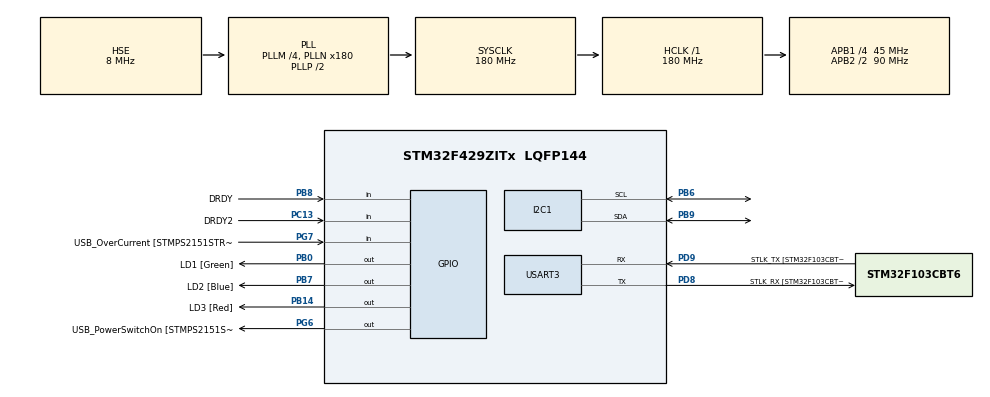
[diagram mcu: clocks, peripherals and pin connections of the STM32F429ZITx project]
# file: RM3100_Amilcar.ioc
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Mcu.Family=STM32F4
Mcu.Name=STM32F429ZITx
Mcu.Package=LQFP144
NVIC.PriorityGroup=NVIC_PRIORITYGROUP_4
PA1.GPIO_Label=RMII_REF_CLK [LAN8742A-CZ-TR_REFCLK0]
PA1.Signal=ETH_REF_CLK
PA10.GPIO_Label=USB_ID
PA10.Signal=USB_OTG_FS_ID
PA11.GPIO_Label=USB_DM
PA11.Signal=USB_OTG_FS_DM
PA12.GPIO_Label=USB_DP
PA12.Signal=USB_OTG_FS_DP
PA13.GPIO_Label=TMS
PA13.Mode=Serial_Wire
PA13.Signal=SYS_JTMS-SWDIO
PA14.GPIO_Label=TCK
PA14.Mode=Serial_Wire
PA14.Signal=SYS_JTCK-SWCLK
PA2.GPIO_Label=RMII_MDIO [LAN8742A-CZ-TR_MDIO]
PA2.Signal=ETH_MDIO
PA7.GPIO_Label=RMII_CRS_DV [LAN8742A-CZ-TR_CRS_DV]
PA7.Signal=ETH_CRS_DV
PA8.GPIO_Label=USB_SOF [TP1]
PA8.Signal=USB_OTG_FS_SOF
PA9.GPIO_Label=USB_VBUS
PA9.Signal=USB_OTG_FS_VBUS
PB0.GPIO_Label=LD1 [Green]
PB0.Signal=GPIO_Output
PB13.GPIO_Label=RMII_TXD1 [LAN8742A-CZ-TR_TXD1]
PB13.Signal=ETH_TXD1
PB14.GPIO_Label=LD3 [Red]
PB14.Signal=GPIO_Output
PB6.GPIO_Pu=GPIO_PULLUP
PB6.Mode=I2C
PB6.Signal=I2C1_SCL
PB7.GPIO_Label=LD2 [Blue]
PB7.Signal=GPIO_Output
PB8.GPIO_Label=DRDY
PB8.Signal=GPIO_Input
PB9.GPIO_Pu=GPIO_PULLUP
PB9.Mode=I2C
PB9.Signal=I2C1_SDA
PC1.GPIO_Label=RMII_MDC [LAN8742A-CZ-TR_MDC]
PC1.Signal=ETH_MDC
PC13.GPIO_Label=DRDY2
PC13.Signal=GPIO_Input
PC14/OSC32_IN.Mode=LSE-External-Oscillator
PC14/OSC32_IN.Signal=RCC_OSC32_IN
PC15/OSC32_OUT.Mode=LSE-External-Oscillator
PC15/OSC32_OUT.Signal=RCC_OSC32_OUT
PC4.GPIO_Label=RMII_RXD0 [LAN8742A-CZ-TR_RXD0]
PC4.Signal=ETH_RXD0
PC5.GPIO_Label=RMII_RXD1 [LAN8742A-CZ-TR_RXD1]
PC5.Signal=ETH_RXD1
PD8.GPIO_Label=STLK_RX [STM32F103CBT6_PA3]
PD8.Mode=Asynchronous
PD8.Signal=USART3_TX
PD9.GPIO_Label=STLK_TX [STM32F103CBT6_PA2]
PD9.Mode=Asynchronous
PD9.Signal=USART3_RX
PG11.GPIO_Label=RMII_TX_EN [LAN8742A-CZ-TR_TXEN]
PG11.Signal=ETH_TX_EN
PG13.GPIO_Label=RMII_TXD0 [LAN8742A-CZ-TR_TXD0]
PG13.Signal=ETH_TXD0
PG6.GPIO_Label=USB_PowerSwitchOn [STMPS2151STR_EN]
PG6.Signal=GPIO_Output
PG7.GPIO_Label=USB_OverCurrent [STMPS2151STR_FAULT]
PG7.Signal=GPIO_Input
PH0/OSC_IN.GPIO_Label=MCO [STM32F103CBT6_PA8]
PH0/OSC_IN.Mode=HSE-External-Oscillator
PH0/OSC_IN.Signal=RCC_OSC_IN
PH1/OSC_OUT.Mode=HSE-External-Oscillator
PH1/OSC_OUT.Signal=RCC_OSC_OUT
ProjectManager.HeapSize=0x200
ProjectManager.StackSize=0x400
ProjectManager.TargetToolchain=STM32CubeIDE
RCC.48MHZClocksFreq_Value=51428571.428571425
RCC.AHBFreq_Value=180000000
RCC.APB1CLKDivider=RCC_HCLK_DIV4
RCC.APB1Freq_Value=45000000
RCC.APB1TimFreq_Value=90000000
RCC.APB2CLKDivider=RCC_HCLK_DIV2
RCC.APB2Freq_Value=90000000
RCC.APB2TimFreq_Value=180000000
RCC.CortexFreq_Value=180000000
RCC.HCLKFreq_Value=180000000
RCC.HSE_VALUE=8000000
RCC.HSI_VALUE=16000000
RCC.PLLM=4
RCC.PLLMUL=RCC_PLL_MUL9
RCC.PLLN=180
RCC.PLLQ=7
RCC.PLLSourceVirtual=RCC_PLLSOURCE_HSE
RCC.PRESCALERUSB=RCC_USBCLKSOURCE_PLL_DIV1_5
RCC.SYSCLKFreq_VALUE=180000000
RCC.SYSCLKSource=RCC_SYSCLKSOURCE_PLLCLK
RCC.SYSCLKSourceVirtual=RCC_SYSCLKSOURCE_PLLCLK
RCC.USBFreq_Value=48000000
RCC.VCOOutputFreq_Value=360000000
USART3.VirtualMode=VM_ASYNC
board=NUCLEO-F429ZI

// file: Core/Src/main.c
/* USER CODE BEGIN Header */
/**
 ******************************************************************************
 * @file           : main.c
 * @brief          : Main program body
 ******************************************************************************
 * @attention
 *
 * <h2><center>&copy; Copyright (c) 2022 STMicroelectronics.
 * All rights reserved.</center></h2>
 *
 * This software component is licensed by ST under BSD 3-Clause license,
 * the "License"; You may not use this file except in compliance with the
 * License. You may obtain a copy of the License at:
 *                        opensource.org/licenses/BSD-3-Clause
 *
 ******************************************************************************
 */
/* USER CODE END Header */
#include "main.h"

/* USER CODE BEGIN PM */
#include "port.h"
/* USER CODE END PM */

I2C_HandleTypeDef hi2c1;
UART_HandleTypeDef huart3;
/* USER CODE BEGIN PV */
bool DataReady()
{
	if (HAL_GPIO_ReadPin(DRDY_GPIO_Port, DRDY_Pin) == GPIO_PIN_SET){
		return true;
	}
	else
		return false;
}
/* USER CODE END PV */

void SystemClock_Config(void);
static void MX_GPIO_Init(void);
static void MX_USART3_UART_Init(void);
static void MX_I2C1_Init(void);

int main(void)
{
  /* USER CODE BEGIN 1 */
	int dataInCount[3];
	float x = 0, y = 0, z = 0;

  /* USER CODE END 1 */

  /* MCU Configuration--------------------------------------------------------*/

  /* Reset of all peripherals, Initializes the Flash interface and the Systick. */
  HAL_Init();

  /* Configure the system clock */
  SystemClock_Config();

  /* Initialize all configured peripherals */
  MX_GPIO_Init();
  MX_USART3_UART_Init();
  MX_I2C1_Init();
  /* USER CODE BEGIN 2 */
	mag_initialize_sensor();

	mag_set_sample_rate(100); //100Hz

	mag_set_power_mode(SensorPowerModeActive);

	int CycleCount = CCP0 | (CCP1 << 8);
	float gain = 0.3671 * CycleCount + 1.5;
  /* USER CODE END 2 */

  /* Infinite loop */
	while (1)
	{

    /* USER CODE BEGIN 3 */
		mag_get_sample_data((int*)&dataInCount);

		while (!DataReady()); //wait here, if using DRDY Int
		x = (float)dataInCount[0] / gain;
		y = (float)dataInCount[1] / gain;
		z = (float)dataInCount[2] / gain;

		printf("Data x:%.2f - y:%.2f - z:%.2f \r\n",x,y,z);
		HAL_Delay(100);
	}
  /* USER CODE END 3 */
}

void SystemClock_Config(void)
{
  RCC_OscInitTypeDef RCC_OscInitStruct = {0};
  RCC_ClkInitTypeDef RCC_ClkInitStruct = {0};

  /** Configure the main internal regulator output voltage
  */
  __HAL_RCC_PWR_CLK_ENABLE();
  __HAL_PWR_VOLTAGESCALING_CONFIG(PWR_REGULATOR_VOLTAGE_SCALE1);

  /** Initializes the RCC Oscillators according to the specified parameters
  * in the RCC_OscInitTypeDef structure.
  */
  RCC_OscInitStruct.OscillatorType = RCC_OSCILLATORTYPE_HSE;
  RCC_OscInitStruct.HSEState = RCC_HSE_ON;
  RCC_OscInitStruct.PLL.PLLState = RCC_PLL_ON;
  RCC_OscInitStruct.PLL.PLLSource = RCC_PLLSOURCE_HSE;
  RCC_OscInitStruct.PLL.PLLM = 4;
  RCC_OscInitStruct.PLL.PLLN = 180;
  RCC_OscInitStruct.PLL.PLLP = RCC_PLLP_DIV2;
  RCC_OscInitStruct.PLL.PLLQ = 7;
  if (HAL_RCC_OscConfig(&RCC_OscInitStruct) != HAL_OK)
  {
    Error_Handler();
  }

  /** Activate the Over-Drive mode
  */
  if (HAL_PWREx_EnableOverDrive() != HAL_OK)
  {
    Error_Handler();
  }

  /** Initializes the CPU, AHB and APB buses clocks
  */
  RCC_ClkInitStruct.ClockType = RCC_CLOCKTYPE_HCLK|RCC_CLOCKTYPE_SYSCLK
                              |RCC_CLOCKTYPE_PCLK1|RCC_CLOCKTYPE_PCLK2;
  RCC_ClkInitStruct.SYSCLKSource = RCC_SYSCLKSOURCE_PLLCLK;
  RCC_ClkInitStruct.AHBCLKDivider = RCC_SYSCLK_DIV1;
  RCC_ClkInitStruct.APB1CLKDivider = RCC_HCLK_DIV4;
  RCC_ClkInitStruct.APB2CLKDivider = RCC_HCLK_DIV2;

  if (HAL_RCC_ClockConfig(&RCC_ClkInitStruct, FLASH_LATENCY_5) != HAL_OK)
  {
    Error_Handler();
  }
}

static void MX_I2C1_Init(void)
{

  hi2c1.Instance = I2C1;
  hi2c1.Init.ClockSpeed = 100000;
  hi2c1.Init.DutyCycle = I2C_DUTYCYCLE_2;
  hi2c1.Init.OwnAddress1 = 0;
  hi2c1.Init.AddressingMode = I2C_ADDRESSINGMODE_7BIT;
  hi2c1.Init.DualAddressMode = I2C_DUALADDRESS_DISABLE;
  hi2c1.Init.OwnAddress2 = 0;
  hi2c1.Init.GeneralCallMode = I2C_GENERALCALL_DISABLE;
  hi2c1.Init.NoStretchMode = I2C_NOSTRETCH_DISABLE;
  if (HAL_I2C_Init(&hi2c1) != HAL_OK)
  {
    Error_Handler();
  }

  /** Configure Analogue filter
  */
  if (HAL_I2CEx_ConfigAnalogFilter(&hi2c1, I2C_ANALOGFILTER_ENABLE) != HAL_OK)
  {
    Error_Handler();
  }

  /** Configure Digital filter
  */
  if (HAL_I2CEx_ConfigDigitalFilter(&hi2c1, 0) != HAL_OK)
  {
    Error_Handler();
  }

}

static void MX_USART3_UART_Init(void)
{

  huart3.Instance = USART3;
  huart3.Init.BaudRate = 115200;
  huart3.Init.WordLength = UART_WORDLENGTH_8B;
  huart3.Init.StopBits = UART_STOPBITS_1;
  huart3.Init.Parity = UART_PARITY_NONE;
  huart3.Init.Mode = UART_MODE_TX_RX;
  huart3.Init.HwFlowCtl = UART_HWCONTROL_NONE;
  huart3.Init.OverSampling = UART_OVERSAMPLING_16;
  if (HAL_UART_Init(&huart3) != HAL_OK)
  {
    Error_Handler();
  }

}

static void MX_GPIO_Init(void)
{
  GPIO_InitTypeDef GPIO_InitStruct = {0};

  /* GPIO Ports Clock Enable */
  __HAL_RCC_GPIOC_CLK_ENABLE();
  __HAL_RCC_GPIOH_CLK_ENABLE();
  __HAL_RCC_GPIOA_CLK_ENABLE();
  __HAL_RCC_GPIOB_CLK_ENABLE();
  __HAL_RCC_GPIOD_CLK_ENABLE();
  __HAL_RCC_GPIOG_CLK_ENABLE();

  /*Configure GPIO pin Output Level */
  HAL_GPIO_WritePin(GPIOB, LD1_Pin|LD3_Pin|LD2_Pin, GPIO_PIN_RESET);

  /*Configure GPIO pin Output Level */
  HAL_GPIO_WritePin(USB_PowerSwitchOn_GPIO_Port, USB_PowerSwitchOn_Pin, GPIO_PIN_RESET);

  /*Configure GPIO pin : DRDY2_Pin */
  GPIO_InitStruct.Pin = DRDY2_Pin;
  GPIO_InitStruct.Mode = GPIO_MODE_INPUT;
  GPIO_InitStruct.Pull = GPIO_NOPULL;
  HAL_GPIO_Init(DRDY2_GPIO_Port, &GPIO_InitStruct);

  /*Configure GPIO pins : RMII_MDC_Pin RMII_RXD0_Pin RMII_RXD1_Pin */
  GPIO_InitStruct.Pin = RMII_MDC_Pin|RMII_RXD0_Pin|RMII_RXD1_Pin;
  GPIO_InitStruct.Mode = GPIO_MODE_AF_PP;
  GPIO_InitStruct.Pull = GPIO_NOPULL;
  GPIO_InitStruct.Speed = GPIO_SPEED_FREQ_VERY_HIGH;
  GPIO_InitStruct.Alternate = GPIO_AF11_ETH;
  HAL_GPIO_Init(GPIOC, &GPIO_InitStruct);

  /*Configure GPIO pins : RMII_REF_CLK_Pin RMII_MDIO_Pin RMII_CRS_DV_Pin */
  GPIO_InitStruct.Pin = RMII_REF_CLK_Pin|RMII_MDIO_Pin|RMII_CRS_DV_Pin;
  GPIO_InitStruct.Mode = GPIO_MODE_AF_PP;
  GPIO_InitStruct.Pull = GPIO_NOPULL;
  GPIO_InitStruct.Speed = GPIO_SPEED_FREQ_VERY_HIGH;
  GPIO_InitStruct.Alternate = GPIO_AF11_ETH;
  HAL_GPIO_Init(GPIOA, &GPIO_InitStruct);

  /*Configure GPIO pins : LD1_Pin LD3_Pin LD2_Pin */
  GPIO_InitStruct.Pin = LD1_Pin|LD3_Pin|LD2_Pin;
  GPIO_InitStruct.Mode = GPIO_MODE_OUTPUT_PP;
  GPIO_InitStruct.Pull = GPIO_NOPULL;
  GPIO_InitStruct.Speed = GPIO_SPEED_FREQ_LOW;
  HAL_GPIO_Init(GPIOB, &GPIO_InitStruct);

  /*Configure GPIO pin : RMII_TXD1_Pin */
  GPIO_InitStruct.Pin = RMII_TXD1_Pin;
  GPIO_InitStruct.Mode = GPIO_MODE_AF_PP;
  GPIO_InitStruct.Pull = GPIO_NOPULL;
  GPIO_InitStruct.Speed = GPIO_SPEED_FREQ_VERY_HIGH;
  GPIO_InitStruct.Alternate = GPIO_AF11_ETH;
  HAL_GPIO_Init(RMII_TXD1_GPIO_Port, &GPIO_InitStruct);

  /*Configure GPIO pin : USB_PowerSwitchOn_Pin */
  GPIO_InitStruct.Pin = USB_PowerSwitchOn_Pin;
  GPIO_InitStruct.Mode = GPIO_MODE_OUTPUT_PP;
  GPIO_InitStruct.Pull = GPIO_NOPULL;
  GPIO_InitStruct.Speed = GPIO_SPEED_FREQ_LOW;
  HAL_GPIO_Init(USB_PowerSwitchOn_GPIO_Port, &GPIO_InitStruct);

  /*Configure GPIO pin : USB_OverCurrent_Pin */
  GPIO_InitStruct.Pin = USB_OverCurrent_Pin;
  GPIO_InitStruct.Mode = GPIO_MODE_INPUT;
  GPIO_InitStruct.Pull = GPIO_NOPULL;
  HAL_GPIO_Init(USB_OverCurrent_GPIO_Port, &GPIO_InitStruct);

  /*Configure GPIO pins : USB_SOF_Pin USB_ID_Pin USB_DM_Pin USB_DP_Pin */
  GPIO_InitStruct.Pin = USB_SOF_Pin|USB_ID_Pin|USB_DM_Pin|USB_DP_Pin;
  GPIO_InitStruct.Mode = GPIO_MODE_AF_PP;
  GPIO_InitStruct.Pull = GPIO_NOPULL;
  GPIO_InitStruct.Speed = GPIO_SPEED_FREQ_VERY_HIGH;
  GPIO_InitStruct.Alternate = GPIO_AF10_OTG_FS;
  HAL_GPIO_Init(GPIOA, &GPIO_InitStruct);

  /*Configure GPIO pin : USB_VBUS_Pin */
  GPIO_InitStruct.Pin = USB_VBUS_Pin;
  GPIO_InitStruct.Mode = GPIO_MODE_INPUT;
  GPIO_InitStruct.Pull = GPIO_NOPULL;
  HAL_GPIO_Init(USB_VBUS_GPIO_Port, &GPIO_InitStruct);

  /*Configure GPIO pins : RMII_TX_EN_Pin RMII_TXD0_Pin */
  GPIO_InitStruct.Pin = RMII_TX_EN_Pin|RMII_TXD0_Pin;
  GPIO_InitStruct.Mode = GPIO_MODE_AF_PP;
  GPIO_InitStruct.Pull = GPIO_NOPULL;
  GPIO_InitStruct.Speed = GPIO_SPEED_FREQ_VERY_HIGH;
  GPIO_InitStruct.Alternate = GPIO_AF11_ETH;
  HAL_GPIO_Init(GPIOG, &GPIO_InitStruct);

  /*Configure GPIO pin : DRDY_Pin */
  GPIO_InitStruct.Pin = DRDY_Pin;
  GPIO_InitStruct.Mode = GPIO_MODE_INPUT;
  GPIO_InitStruct.Pull = GPIO_NOPULL;
  HAL_GPIO_Init(DRDY_GPIO_Port, &GPIO_InitStruct);

}

void Error_Handler(void)
{
	__disable_irq();
	while (1)
	{
	}
}
